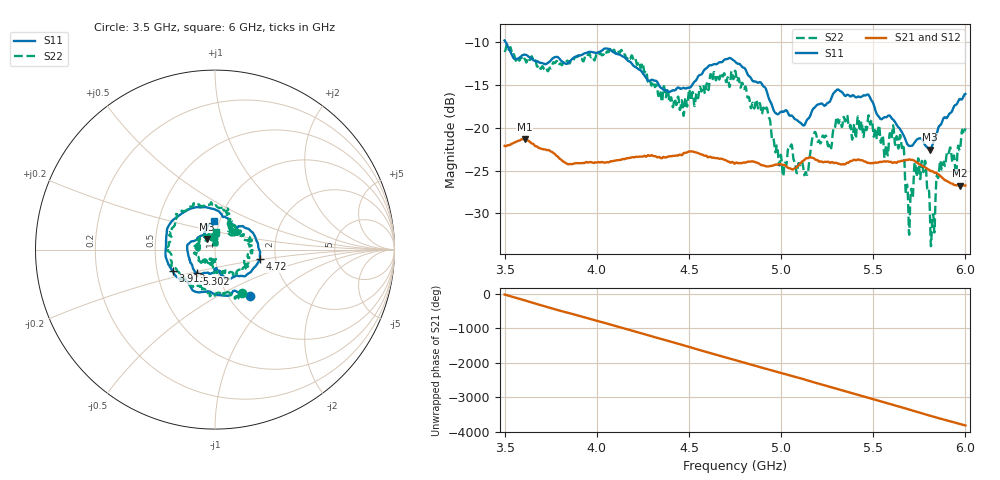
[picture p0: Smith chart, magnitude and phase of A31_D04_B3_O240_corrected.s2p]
! Created with skrf 1.9.0 (http://scikit-rf.org).
# Hz S RI R 50.0
!freq ReS11 ImS11 ReS21 ImS21 ReS12 ImS12 ReS22 ImS22
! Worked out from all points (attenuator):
!   1601 points, 3.5 GHz to 6 GHz, reference 50 ohm
!   highest |S21| = -21.33 dB at 3.609 GHz (marker M1); lowest = -26.8 dB at 5.972 GHz (marker M2)
!   lowest |S11| = -22.6 dB at 5.808 GHz (marker M3), VSWR 1.16, Z = 45.4 + j5.41 ohm
!   |S11| at or under -10 dB: 3.506 GHz to end of sweep
!   |S22| runs from -33.8 to -10.3 dB; largest |S21 - S12| = 0.001
!   S11 on the Smith chart (normalised r, x): 3.5 GHz: 1.24, -0.72; 3.913 GHz: 0.60, -0.16; 4.72 GHz: 1.66, -0.18; 5.302 GHz: 0.79, -0.22; 6 GHz: 0.94, +0.30
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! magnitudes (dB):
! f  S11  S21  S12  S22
! 3.5 GHz  -9.8  -22.1  -22.1  -11.0
! 3.609 GHz  -11.5  -21.3  -21.3  -11.9
! 3.913 GHz  -11.5  -24.1  -24.1  -12.0
! 3.917 GHz  -11.5  -24.1  -24.1  -12.0
! 4.125 GHz  -11.5  -23.8  -23.7  -11.3
! 4.334 GHz  -14.9  -23.4  -23.4  -16.3
! 4.72 GHz  -11.9  -24.0  -24.0  -15.2
! 4.75 GHz  -12.2  -24.2  -24.1  -13.4
! 4.927 GHz  -16.1  -24.5  -24.5  -18.0
! 5.016 GHz  -18.1  -24.3  -24.3  -24.8
! 5.05 GHz  -18.6  -24.8  -24.7  -22.2
! 5.136 GHz  -19.3  -23.6  -23.5  -25.2
! 5.167 GHz  -18.1  -23.5  -23.4  -21.5
! 5.302 GHz  -15.6  -24.1  -24.1  -18.8
! 5.584 GHz  -18.6  -24.0  -23.9  -21.8
! 5.655 GHz  -20.5  -23.9  -23.8  -22.3
! 5.702 GHz  -22.1  -23.7  -23.7  -28.2
! 5.773 GHz  -21.7  -24.6  -24.5  -25.1
! 5.808 GHz  -22.6  -25.0  -24.9  -30.2
! 5.856 GHz  -19.9  -25.5  -25.4  -25.2
! 5.972 GHz  -16.6  -26.8  -26.7  -22.4
! 6 GHz  -16.1  -26.7  -26.7  -20.1
